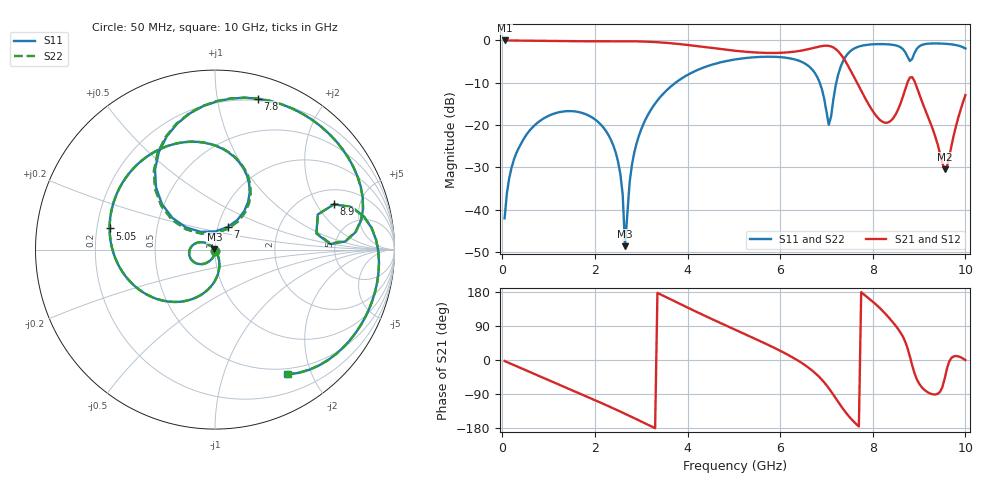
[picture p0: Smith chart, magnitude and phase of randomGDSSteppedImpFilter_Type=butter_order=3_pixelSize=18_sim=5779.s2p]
! freq	dB(S11)	phase(S11)	dB(S12)	phase(S12)
!  dB(S21)	phase(S21)	dB(S22)	phase(S22)
!S-par simulation data
#  GHz  S  DB  R 50
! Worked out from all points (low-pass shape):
!   200 points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, 50 MHz to 10 GHz, reference 50 ohm
!   highest |S21| = 0.00 dB at 50 MHz (marker M1); lowest = -30.4 dB at 9.55 GHz (marker M2)
!   |S21| within 3 dB of the highest: start of sweep to 7.288 GHz
!   lowest |S11| = -48.6 dB at 2.65 GHz (marker M3), VSWR 1.01, Z = 49.7 + j0.165 ohm
!   |S11| at or under -10 dB: start of sweep to 3.74 GHz; 6.855 GHz to 7.212 GHz (357 MHz wide, 5.08 % of centre)
!   |S22| runs from -48.5 to -0.7 dB; largest |S21 - S12| = 0
!   S11 on the Smith chart (normalised r, x): 50 MHz: 1.00, -0.02; 5.05 GHz: 0.25, +0.09; 7 GHz: 1.11, +0.28; 7.8 GHz: 0.18, +1.31; 8.9 GHz: 2.80, +2.84; 10 GHz: 0.42, -1.66
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0.05  -42.02 -92.1  -0.00 -2.7  -0.00 -2.7  -42.02 -92.1
0.2  -30.05 -100.1  -0.02 -10.7  -0.02 -10.7  -30.06 -100.1
0.55  -21.84 -119.9  -0.07 -29.2  -0.07 -29.2  -21.84 -119.9
1.75  -17.22 177.0  -0.19 -92.4  -0.19 -92.4  -17.22 177.0
2.45  -26.51 139.9  -0.17 -130.5  -0.17 -130.5  -26.51 139.9
2.6  -36.41 134.6  -0.17 -139.0  -0.17 -139.0  -36.40 134.9
2.65  -48.60 153.4  -0.17 -141.9  -0.17 -141.9  -48.50 154.6
2.85  -26.49 -65.9  -0.20 -153.4  -0.20 -153.4  -26.50 -66.1
3.4  -13.52 -97.1  -0.45 174.0  -0.45 174.0  -13.52 -97.2
4.2  -7.05 -143.9  -1.33 126.7  -1.33 126.7  -7.06 -144.1
5.05  -4.45 168.6  -2.46 78.7  -2.46 78.7  -4.45 168.5
6.05  -3.99 112.2  -2.90 21.3  -2.90 21.3  -3.99 111.8
6.7  -6.97 66.6  -1.83 -28.6  -1.83 -28.6  -6.98 65.7
7  -16.87 60.9  -1.24 -66.4  -1.24 -66.4  -17.24 57.8
7.05  -19.91 89.4  -1.29 -74.4  -1.29 -74.4  -20.79 88.1
7.35  -5.06 126.7  -3.91 -127.6  -3.91 -127.6  -5.09 127.7
7.8  -1.17 74.1  -12.92 173.8  -12.92 173.8  -1.17 74.5
8.35  -0.93 30.9  -19.29 111.5  -19.29 111.5  -0.93 31.1
8.7  -2.74 3.6  -11.59 48.6  -11.59 48.6  -2.73 3.8
8.9  -2.99 20.8  -9.58 -34.6  -9.58 -34.6  -2.97 20.9
9.55  -0.77 -27.5  -30.41 -50.5  -30.41 -50.5  -0.77 -27.4
10  -1.90 -59.9  -12.93 -0.3  -12.93 -0.3  -1.89 -59.7
